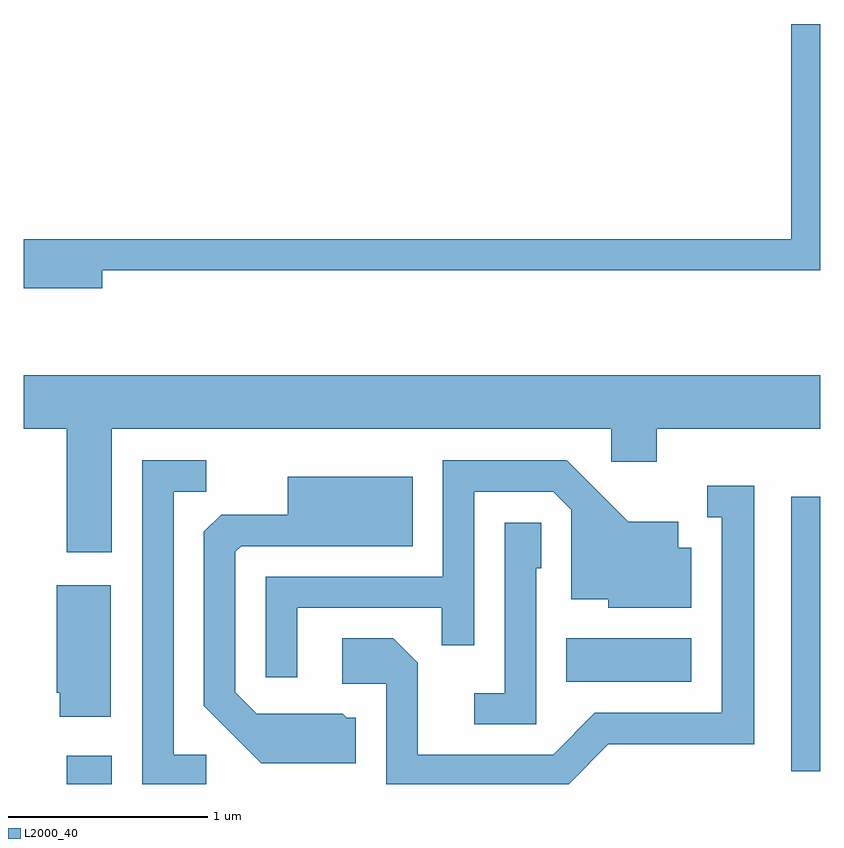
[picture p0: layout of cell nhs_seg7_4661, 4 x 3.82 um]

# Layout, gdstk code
import gdstk
lib = gdstk.Library(unit=1e-6, precision=1e-09)
def R(c, l, rs):  # rectangles x0, y0, x1, y1
    for r in rs: c.add(gdstk.rectangle(r[:2], r[2:], *l))
def P(c, l, *ps):  # polygons
    for p in ps: c.add(gdstk.Polygon(p, *l))
L2000_40 = (2000, 40)

nhs_seg7_4661 = lib.new_cell('nhs_seg7_4661')
R(nhs_seg7_4661, L2000_40, [(327.826,1770.252,328.054,1770.394), (331.466,1770.316,331.611,1771.694), (330.336,1770.766,330.964,1770.984)])
P(nhs_seg7_4661, L2000_40, [(328.004,1772.831),(331.611,1772.831),(331.611,1774.069),(331.466,1774.069),(331.466,1772.989),(327.611,1772.989),(327.611,1772.741),(328.004,1772.741)],
  [(328.054,1772.036),(330.561,1772.036),(330.561,1771.871),(330.789,1771.871),(330.789,1772.036),(331.611,1772.036),(331.611,1772.304),(327.611,1772.304),(327.611,1772.036),(327.826,1772.036),(327.826,1771.416),(328.054,1771.416)],
  [(328.528,1770.399),(328.364,1770.399),(328.364,1771.721),(328.528,1771.721),(328.528,1771.879),(328.206,1771.879),(328.206,1770.252),(328.528,1770.252)],
  [(328.984,1771.136),(329.711,1771.136),(329.711,1770.948),(329.874,1770.948),(329.874,1771.721),(330.269,1771.721),(330.361,1771.629),(330.361,1771.181),(330.546,1771.181),(330.546,1771.136),(330.964,1771.136),(330.964,1771.439),(330.899,1771.439),(330.899,1771.569),(330.647,1771.569),(330.337,1771.879),(329.716,1771.879),(329.716,1771.294),(328.826,1771.294),(328.826,1770.788),(328.984,1770.788)],
  [(329.279,1770.584),(329.232,1770.584),(329.212,1770.604),(328.782,1770.604),(328.674,1770.712),(328.674,1771.419),(328.702,1771.446),(329.564,1771.446),(329.564,1771.794),(328.936,1771.794),(328.936,1771.604),(328.602,1771.604),(328.516,1771.519),(328.516,1770.644),(328.804,1770.356),(329.279,1770.356)],
  [(330.547,1770.451),(331.279,1770.451),(331.279,1771.749),(331.043,1771.749),(331.043,1771.591),(331.116,1771.591),(331.116,1770.609),(330.479,1770.609),(330.269,1770.399),(329.589,1770.399),(329.589,1770.862),(329.467,1770.984),(329.211,1770.984),(329.211,1770.756),(329.431,1770.756),(329.431,1770.252),(330.348,1770.252)],
  [(330.184,1771.336),(330.209,1771.336),(330.209,1771.564),(330.026,1771.564),(330.026,1770.709),(329.873,1770.709),(329.873,1770.551),(330.184,1770.551)],
  [(328.049,1771.249),(327.776,1771.249),(327.776,1770.71),(327.791,1770.71),(327.791,1770.591),(328.049,1770.591)])

lib.write_gds('nhs_seg7_4661.gds')
